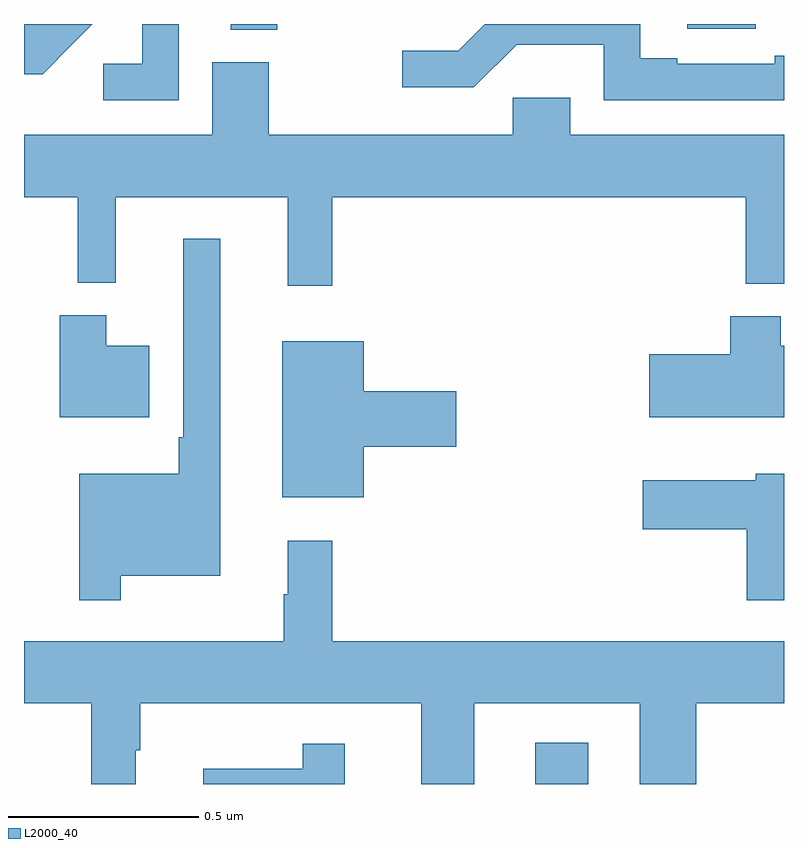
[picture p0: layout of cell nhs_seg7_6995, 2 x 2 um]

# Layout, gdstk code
import gdstk
lib = gdstk.Library(unit=1e-6, precision=1e-09)
def R(c, l, rs):  # rectangles x0, y0, x1, y1
    for r in rs: c.add(gdstk.rectangle(r[:2], r[2:], *l))
def P(c, l, *ps):  # polygons
    for p in ps: c.add(gdstk.Polygon(p, *l))
L2000_40 = (2000, 40)

nhs_seg7_6995 = lib.new_cell('nhs_seg7_6995')
R(nhs_seg7_6995, L2000_40, [(206.345,1071,206.485,1071.109), (205.544,1072.985,205.666,1073), (206.746,1072.987,206.926,1073)])
P(nhs_seg7_6995, L2000_40, [(205.407,1073),(205.311,1073),(205.311,1072.896),(205.209,1072.896),(205.209,1072.8),(205.407,1072.8)],
  [(205.129,1072.949),(205.179,1073),(205,1073),(205,1072.868),(205.049,1072.868)],
  [(207,1072.916),(206.975,1072.916),(206.975,1072.896),(206.719,1072.896),(206.719,1072.91),(206.622,1072.91),(206.622,1073),(206.213,1073),(206.143,1072.93),(205.995,1072.93),(205.995,1072.833),(206.184,1072.833),(206.297,1072.946),(206.526,1072.946),(206.526,1072.8),(207,1072.8)],
  [(205.811,1072.544),(206.899,1072.544),(206.899,1072.316),(207,1072.316),(207,1072.708),(206.437,1072.708),(206.437,1072.806),(206.286,1072.806),(206.286,1072.708),(205.644,1072.708),(205.644,1072.9),(205.496,1072.9),(205.496,1072.708),(205,1072.708),(205,1072.544),(205.142,1072.544),(205.142,1072.319),(205.241,1072.319),(205.241,1072.544),(205.694,1072.544),(205.694,1072.311),(205.811,1072.311)],
  [(205.255,1071.548),(205.516,1071.548),(205.516,1072.435),(205.419,1072.435),(205.419,1071.913),(205.407,1071.913),(205.407,1071.817),(205.146,1071.817),(205.146,1071.483),(205.255,1071.483)],
  [(205.33,1072.153),(205.216,1072.153),(205.216,1072.234),(205.094,1072.234),(205.094,1071.965),(205.33,1071.965)],
  [(207,1072.153),(206.992,1072.153),(206.992,1072.231),(206.858,1072.231),(206.858,1072.131),(206.646,1072.131),(206.646,1071.965),(207,1071.965)],
  [(205.894,1071.887),(206.137,1071.887),(206.137,1072.034),(205.894,1072.034),(205.894,1072.165),(205.679,1072.165),(205.679,1071.755),(205.894,1071.755)],
  [(207,1071.817),(206.925,1071.817),(206.925,1071.799),(206.628,1071.799),(206.628,1071.67),(206.902,1071.67),(206.902,1071.483),(207,1071.483)],
  [(205.294,1071.089),(205.306,1071.089),(205.306,1071.212),(206.045,1071.212),(206.045,1071),(206.185,1071),(206.185,1071.212),(206.621,1071.212),(206.621,1071),(206.769,1071),(206.769,1071.212),(207,1071.212),(207,1071.376),(205.811,1071.376),(205.811,1071.64),(205.694,1071.64),(205.694,1071.5),(205.683,1071.5),(205.683,1071.376),(205,1071.376),(205,1071.212),(205.177,1071.212),(205.177,1071),(205.294,1071)],
  [(205.844,1071.106),(205.734,1071.106),(205.734,1071.04),(205.472,1071.04),(205.472,1071),(205.844,1071)])

lib.write_gds('nhs_seg7_6995.gds')
